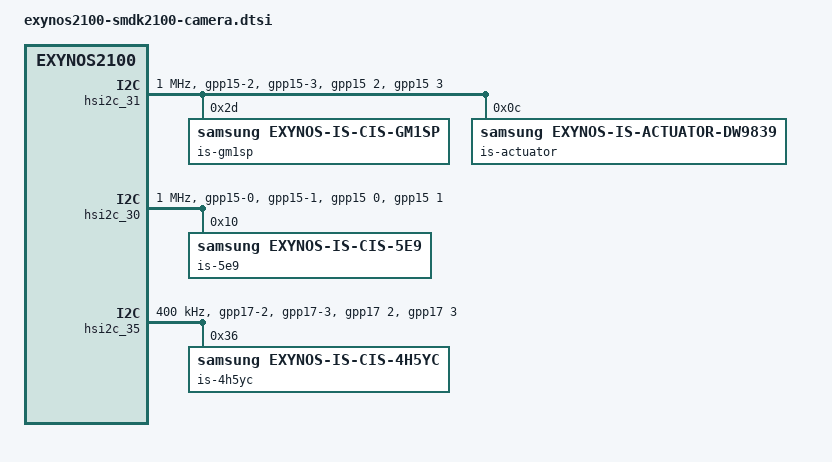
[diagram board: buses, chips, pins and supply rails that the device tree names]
/*
 * Samsung Exynos SoC series Pablo driver
 *
 * Copyright (c) 2020 Samsung Electronics Co., Ltd
 *
 * This program is free software; you can redistribute it and/or modify
 * it under the terms of the GNU General Public License version 2 as
 * published by the Free Software Foundation.
 */

#include <dt-bindings/camera/exynos_is_dt.h>

#include "camera/module_gm1sp.dtsi"
#include "camera/module_5e9.dtsi"
#include "camera/module_4h5yc.dtsi"

/ {
	fragment@camera {
		target-path = "/";
		__overlay__ {
			#address-cells = <2>;
			#size-cells = <1>;
			interrupt-parent = <&gic>;

			/* REAR CAMERA */
			is_sensor_gm1sp: is_sensor_gm1sp@43 {
				pinctrl-names = "pin0", "pin1", "pin2", "release";
				pinctrl-0 = <>;
				pinctrl-1 = <&sensor_mclk0_out>;
				pinctrl-2 = <&sensor_mclk0_fn>;
				pinctrl-3 = <>;

				position = <0>; /* Rear:0. Front:1 */
				id = <0>; /* sensor node id */
				mclk_ch = <0>;
				sensor_i2c_ch = <0>; /* I2C 0 */

				status = "okay";

				af {
					product_name = <23>; /* ACTUATOR_NAME_DW9839 */
					i2c_ch = <0>; /* SENSOR_CONTROL_I2C0 */
				};

				power_seq {
					gpio_mclk = <&gpg1 0 0x1>;

					scenario_normal_on {
						/* A start node number should be over the 10 for reserved number 0~9. */
						/* pname = "name"; pin = <act value dealy voltage>; gpio = <gpx# # 0x1>; */
						10 { pname = "MCLK"; pin = <PIN_MCLK 1 0>; };
						20 { pname = "sen_rst low"; pin = <PIN_OUTPUT 0 0>; gpio = <&gpp18 3 0x1>; };
						30 { pname = "S2MPB02_LDO14"; pin = <PIN_REGULATOR 1 0>; };
						40 { pname = "S2MPB02_LDO13"; pin = <PIN_REGULATOR 1 0>; };
						50 { pname = "S2MPB02_LDO7"; pin = <PIN_REGULATOR 1 0>; };
						60 { pname = "S2MPB02_LDO10"; pin = <PIN_REGULATOR 1 0>; };
						61 { pname = "S2MPB02_LDO16"; pin = <PIN_REGULATOR 1 0>; };
						70 { pname = "S2MPB02_BUCK2"; pin = <PIN_REGULATOR 1 0>; };
						80 { pname = "on_i2c"; pin = <PIN_I2C 1 0>; };
						90 { pname = "pin"; pin = <PIN_FUNCTION 2 0>; };
						100 { pname = "sen_rst high"; pin = <PIN_OUTPUT 1 2000>; gpio = <&gpp18 3 0x1>; };
					};

					scenario_normal_off {
						/* A start node number should be over the 10 for reserved number 0~9. */
						/* pname = "name"; pin = <act value dealy voltage>; gpio = <gpx# # 0x1>; */
						10 { pname = "sen_rst"; pin = <PIN_RESET 0 10>; gpio = <&gpp18 3 0x1>; };
						20 { pname = "sen_rst input"; pin = <PIN_INPUT 0 0>; gpio = <&gpp18 3 0x1>; };
						30 { pname = "S2MPB02_LDO14"; pin = <PIN_REGULATOR 0 0>; };
						40 { pname = "S2MPB02_LDO13"; pin = <PIN_REGULATOR 0 0>; };
						50 { pname = "S2MPB02_LDO7"; pin = <PIN_REGULATOR 0 0>; };
						60 { pname = "S2MPB02_LDO10"; pin = <PIN_REGULATOR 0 0>; };
						61 { pname = "S2MPB02_LDO16"; pin = <PIN_REGULATOR 0 0>; };
						70 { pname = "S2MPB02_BUCK2"; pin = <PIN_REGULATOR 0 0>; };
						80 { pname = "off_i2c"; pin = <PIN_I2C 0 0>; };
						90 { pname = "pin"; pin = <PIN_FUNCTION 0 0>; };
						100 { pname = "pin"; pin = <PIN_FUNCTION 1 0>; };
						110 { pname = "pin"; pin = <PIN_FUNCTION 0 0>; };
						120 { pname = "MCLK"; pin = <PIN_MCLK 0 0>; };
					};

					scenario_vision_on {
						sensor_scenario = <SENSOR_SCENARIO_VISION>;
						gpio_scenario = <GPIO_SCENARIO_ON>;

						/* A start node number should be over the 10 for reserved number 0~9. */
						/* pname = "name"; pin = <act value dealy voltage>; gpio = <gpx# # 0x1>; */
						10 { pname = "MCLK"; pin = <PIN_MCLK 1 0>; };
						20 { pname = "sen_rst low"; pin = <PIN_OUTPUT 0 0>; gpio = <&gpp18 3 0x1>; };
						30 { pname = "S2MPB02_LDO14"; pin = <PIN_REGULATOR 1 0>; };
						40 { pname = "S2MPB02_LDO13"; pin = <PIN_REGULATOR 1 0>; };
						50 { pname = "S2MPB02_LDO7"; pin = <PIN_REGULATOR 1 0>; };
						60 { pname = "S2MPB02_LDO10"; pin = <PIN_REGULATOR 1 0>; };
						61 { pname = "S2MPB02_LDO16"; pin = <PIN_REGULATOR 1 0>; };
						70 { pname = "S2MPB02_BUCK2"; pin = <PIN_REGULATOR 1 0>; };
						80 { pname = "on_i2c"; pin = <PIN_I2C 1 0>; };
						90 { pname = "pin"; pin = <PIN_FUNCTION 2 0>; };
						100 { pname = "sen_rst high"; pin = <PIN_OUTPUT 1 2000>; gpio = <&gpp18 3 0x1>; };
					};

					scenario_vision_off {
						sensor_scenario = <SENSOR_SCENARIO_VISION>;
						gpio_scenario = <GPIO_SCENARIO_OFF>;

						/* A start node number should be over the 10 for reserved number 0~9. */
						/* pname = "name"; pin = <act value dealy voltage>; gpio = <gpx# # 0x1>; */
						10 { pname = "sen_rst"; pin = <PIN_RESET 0 10>; gpio = <&gpp18 3 0x1>; };
						20 { pname = "sen_rst input"; pin = <PIN_INPUT 0 0>; gpio = <&gpp18 3 0x1>; };
						30 { pname = "S2MPB02_LDO14"; pin = <PIN_REGULATOR 0 0>; };
						40 { pname = "S2MPB02_LDO13"; pin = <PIN_REGULATOR 0 0>; };
						50 { pname = "S2MPB02_LDO7"; pin = <PIN_REGULATOR 0 0>; };
						60 { pname = "S2MPB02_LDO10"; pin = <PIN_REGULATOR 0 0>; };
						61 { pname = "S2MPB02_LDO16"; pin = <PIN_REGULATOR 0 0>; };
						70 { pname = "S2MPB02_BUCK2"; pin = <PIN_REGULATOR 0 0>; };
						80 { pname = "off_i2c"; pin = <PIN_I2C 0 0>; };
						90 { pname = "pin"; pin = <PIN_FUNCTION 0 0>; };
						100 { pname = "pin"; pin = <PIN_FUNCTION 1 0>; };
						110 { pname = "pin"; pin = <PIN_FUNCTION 0 0>; };
						120 { pname = "MCLK"; pin = <PIN_MCLK 0 0>; };
					};

				};
			};

			/* FRONT CAMERA */
			is_sensor_4h5yc: is_sensor_4h5yc@24 {
				pinctrl-names = "pin0", "pin1", "pin2", "release";
				pinctrl-0 = <>;
				pinctrl-1 = <&sensor_mclk4_out>;
				pinctrl-2 = <&sensor_mclk4_fn>;
				pinctrl-3 = <>;

				position = <1>; /* Rear:0. Front:1 */
				id = <1>; /* sensor node id */
				mclk_ch = <4>;
				sensor_i2c_ch = <1>;
				sensor_i2c_addr = <0x36>;

				status = "okay";

				power_seq {
					gpio_mclk = <&gpg2 1 0x1>;

					scenario_normal_on {
						/* A start node number should be over the 10 for reserved number 0~9. */
						/* pname = "name"; pin = <act value dealy voltage>; gpio = <gpx# # 0x1>; */
						10 { pname = "sen_rst low"; pin = <PIN_OUTPUT 0 0>; gpio = <&gpp9 0 0x1>; };
						20 { pname = "vdd_ldo18s"; pin = <PIN_REGULATOR 1 0>; };
						30 { pname = "vdd_ldo25"; pin = <PIN_REGULATOR 1 0>; };
						40 { pname = "S2MPB02_LDO4"; pin = <PIN_REGULATOR 1 0>; };
						50 { pname = "on_i2c"; pin = <PIN_I2C 1 0>; };
						60 { pname = "pin"; pin = <PIN_FUNCTION 2 0>; };
						70 { pname = "MCLK"; pin = <PIN_MCLK 1 0>; };
						80 { pname = "sen_rst high"; pin = <PIN_OUTPUT 1 0>; gpio = <&gpp9 0 0x1>; };
					};

					scenario_normal_off {
						/* A start node number should be over the 10 for reserved number 0~9. */
						/* pname = "name"; pin = <act value dealy voltage>; gpio = <gpx# # 0x1>; */
						10 { pname = "vdd_ldo18s"; pin = <PIN_REGULATOR 0 0>; };
						20 { pname = "vdd_ldo25"; pin = <PIN_REGULATOR 0 0>; };
						30 { pname = "MCLK"; pin = <PIN_MCLK 0 0>; };
						40 { pname = "pin"; pin = <PIN_FUNCTION 0 0>; };
						50 { pname = "sen_rst"; pin = <PIN_OUTPUT 0 0>; gpio = <&gpp9 0 0x1>; };
						60 { pname = "off_i2c"; pin = <PIN_I2C 0 0>; };
						70 { pname = "S2MPB02_LDO4"; pin = <PIN_REGULATOR 0 0>; };
					};

					scenario_vision_on {
						sensor_scenario = <SENSOR_SCENARIO_VISION>;
						gpio_scenario = <GPIO_SCENARIO_ON>;
						/* A start node number should be over the 10 for reserved number 0~9. */
						/* pname = "name"; pin = <act value dealy voltage>; gpio = <gpx# # 0x1>; */
						10 { pname = "sen_rst low"; pin = <PIN_OUTPUT 0 0>; gpio = <&gpp9 0 0x1>; };
						20 { pname = "vdd_ldo18s"; pin = <PIN_REGULATOR 1 0>; };
						30 { pname = "vdd_ldo25"; pin = <PIN_REGULATOR 1 0>; };
						40 { pname = "S2MPB02_LDO4"; pin = <PIN_REGULATOR 1 0>; };
						50 { pname = "on_i2c"; pin = <PIN_I2C 1 0>; };
						60 { pname = "pin"; pin = <PIN_FUNCTION 2 0>; };
						70 { pname = "MCLK"; pin = <PIN_MCLK 1 0>; };
						80 { pname = "sen_rst high"; pin = <PIN_OUTPUT 1 0>; gpio = <&gpp9 0 0x1>; };
					};

					scenario_vision_off {
						sensor_scenario = <SENSOR_SCENARIO_VISION>;
						gpio_scenario = <GPIO_SCENARIO_OFF>;
						/* A start node number should be over the 10 for reserved number 0~9. */
						/* pname = "name"; pin = <act value dealy voltage>; gpio = <gpx# # 0x1>; */
						10 { pname = "vdd_ldo18s"; pin = <PIN_REGULATOR 0 0>; };
						20 { pname = "vdd_ldo25"; pin = <PIN_REGULATOR 0 0>; };
						30 { pname = "MCLK"; pin = <PIN_MCLK 0 0>; };
						40 { pname = "pin"; pin = <PIN_FUNCTION 0 0>; };
						50 { pname = "sen_rst"; pin = <PIN_OUTPUT 0 0>; gpio = <&gpp9 0 0x1>; };
						60 { pname = "off_i2c"; pin = <PIN_I2C 0 0>; };
						70 { pname = "S2MPB02_LDO4"; pin = <PIN_REGULATOR 0 0>; };
					};

				};

			};

			/* Rear Sub CAMERA */
			is_sensor_5e9: is_sensor_5e9@41 {
				pinctrl-names = "pin0", "pin1", "pin2", "release";
				pinctrl-0 = <>;
				pinctrl-1 = <&sensor_mclk1_out>;
				pinctrl-2 = <&sensor_mclk1_fn>;
				pinctrl-3 = <>;

				/* board */
				position = <2>; /* Rear:0. Front:1, Tele:2 */
				id = <2>; /* fimc_is_sensor id */
				mclk_ch = <1>;
				sensor_i2c_ch = <2>; /* SENSOR_CONTROL_I2C2 */

				af {
					product_name = <100>; /* NOTHING */
				};

				flash {
					product_name = <100>; /* NOTHING */
				};

				preprocessor {
					product_name = <100>; /* NOTHING */
				};

				ois {
					product_name = <100>; /* NOTHING */
				};

				power_seq {
					use = <1>;
					gpio_mclk = <&gpg1 1 0x1>;

					scenario_normal_on {
						sensor_scenario = <SENSOR_SCENARIO_NORMAL>;
						gpio_scenario = <GPIO_SCENARIO_ON>;

						/* A start node number should be over the 10 for reserved number 0~9. */
						/* pname = "name"; pin = <act value dealy voltage>; gpio = <gpx# # 0x1>; */
						10 { pname = "MCLK"; pin = <PIN_MCLK 1 0>; };
						20 { pname = "sen_rst low"; pin = <PIN_OUTPUT 0 0>; gpio = <&gpp8 0 0x1>; };
						30 { pname = "vdd_ldo21s"; pin = <PIN_REGULATOR 1 0>; };
						40 { pname = "vdd_ldo29"; pin = <PIN_REGULATOR 1 0>; };
						50 { pname = "S2MPB02_LDO3"; pin = <PIN_REGULATOR 1 0>; };
						60 { pname = "pin"; pin = <PIN_FUNCTION 2 1000>; };
						70 { pname = "sen_rst high"; pin = <PIN_OUTPUT 1 1000>; gpio = <&gpp8 0 0x1>; };
						80 { pname = "on_i2c"; pin = <PIN_I2C 1 0>; };
					};

					scenario_normal_off {
						sensor_scenario = <SENSOR_SCENARIO_NORMAL>;
						gpio_scenario = <GPIO_SCENARIO_OFF>;

						/* A start node number should be over the 10 for reserved number 0~9. */
						/* pname = "name"; pin = <act value dealy voltage>; gpio = <gpx# # 0x1>; */
						10 { pname = "pin"; pin = <PIN_FUNCTION 0 0>; };
						20 { pname = "pin"; pin = <PIN_FUNCTION 1 0>; };
						30 { pname = "pin"; pin = <PIN_FUNCTION 0 0>; };
						40 { pname = "vdd_ldo21s"; pin = <PIN_REGULATOR 0 0>; };
						50 { pname = "S2MPB02_LDO3"; pin = <PIN_REGULATOR 0 0>; };
						60 { pname = "vdd_ldo29"; pin = <PIN_REGULATOR 0 0>; };
						70 { pname = "sen_rst"; pin = <PIN_OUTPUT 0 0>; gpio = <&gpp8 0 0x1>; };
						80 { pname = "MCLK"; pin = <PIN_MCLK 0 0>; };
						90 { pname = "off_i2c"; pin = <PIN_I2C 0 0>; };
					};

					scenario_vision_on {
						sensor_scenario = <SENSOR_SCENARIO_VISION>;
						gpio_scenario = <GPIO_SCENARIO_ON>;

						/* A start node number should be over the 10 for reserved number 0~9. */
						/* pname = "name"; pin = <act value dealy voltage>; gpio = <gpx# # 0x1>; */
						10 { pname = "MCLK"; pin = <PIN_MCLK 1 0>; };
						20 { pname = "sen_rst low"; pin = <PIN_OUTPUT 0 0>; gpio = <&gpp8 0 0x1>; };
						30 { pname = "vdd_ldo21s"; pin = <PIN_REGULATOR 1 0>; };
						40 { pname = "vdd_ldo29"; pin = <PIN_REGULATOR 1 0>; };
						50 { pname = "S2MPB02_LDO3"; pin = <PIN_REGULATOR 1 0>; };
						60 { pname = "pin"; pin = <PIN_FUNCTION 2 1000>; };
						70 { pname = "sen_rst high"; pin = <PIN_OUTPUT 1 1000>; gpio = <&gpp8 0 0x1>; };
						80 { pname = "on_i2c"; pin = <PIN_I2C 1 0>; };
					};

					scenario_vision_off {
						sensor_scenario = <SENSOR_SCENARIO_VISION>;
						gpio_scenario = <GPIO_SCENARIO_OFF>;

						/* A start node number should be over the 10 for reserved number 0~9. */
						/* pname = "name"; pin = <act value dealy voltage>; gpio = <gpx# # 0x1>; */
						10 { pname = "pin"; pin = <PIN_FUNCTION 0 0>; };
						20 { pname = "pin"; pin = <PIN_FUNCTION 1 0>; };
						30 { pname = "pin"; pin = <PIN_FUNCTION 0 0>; };
						40 { pname = "vdd_ldo21s"; pin = <PIN_REGULATOR 0 0>; };
						50 { pname = "S2MPB02_LDO3"; pin = <PIN_REGULATOR 0 0>; };
						60 { pname = "vdd_ldo29"; pin = <PIN_REGULATOR 0 0>; };
						70 { pname = "sen_rst"; pin = <PIN_OUTPUT 0 0>; gpio = <&gpp8 0 0x1>; };
						80 { pname = "MCLK"; pin = <PIN_MCLK 0 0>; };
						90 { pname = "off_i2c"; pin = <PIN_I2C 0 0>; };
					};
				};
			};

			is_sensor0: is_sensor0@17030000 {
				#address-cells = <1>;
				#size-cells = <1>;
				scenario = <SENSOR_SCENARIO_NORMAL>;	/* Normal, Vision, OIS etc */
				id = <0>;
				csi_ch = <0>;
				dma_ch = <0 0 0 0>;
				vc_ch = <0 1 2 3>;
				flite_ch = <FLITE_ID_NOTHING>;
				is_bns = <0>;
				status = "okay";
			};

			is_sensor1: is_sensor1@17040000 {
				#address-cells = <1>;
				#size-cells = <1>;
				reg = <0x0 0x17070000 0x1000>, /* MIPI-CSI2 */
					<0x0 0x170A0000 0x10000>; /* PHY: M0S4S4S4S4S4S2 */
				phys = <&mipi_phy_csis4_m0s4s4s4s4s4s2 0>;
				scenario = <SENSOR_SCENARIO_NORMAL>;    /* Normal, Vision, OIS etc */
				id = <1>;
				csi_ch = <4>;
				dma_ch = <1 1 1 1>;
				vc_ch = <0 1 2 3>;
				flite_ch = <FLITE_ID_NOTHING>;
				is_bns = <0>;
				status = "okay";

				interrupts = <0 INTREQ__CSIS4 IRQ_TYPE_LEVEL_HIGH>, /* MIPI-CSI2 */
					<0 INTREQ__CSIS_DMA1 IRQ_TYPE_LEVEL_HIGH>,
					<0 INTREQ__CSIS_DMA1 IRQ_TYPE_LEVEL_HIGH>,
					<0 INTREQ__CSIS_DMA1 IRQ_TYPE_LEVEL_HIGH>,
					<0 INTREQ__CSIS_DMA1 IRQ_TYPE_LEVEL_HIGH>;
			};

			is_sensor2: is_sensor2@17050000 {
				#address-cells = <1>;
				#size-cells = <1>;
				reg = <0x0 0x17040000 0x1000>, /* MIPI-CSI1 */
					<0x0 0x170A0000 0x10000>; /* PHY: M0S4S4S4S4S4S2 */
				phys = <&mipi_phy_csis1_m0s4s4s4s4s4s2 0>;
				scenario = <SENSOR_SCENARIO_NORMAL>;    /* Normal, Vision, OIS etc */
				id = <2>;
				csi_ch = <1>;
				dma_ch = <2 2 2 2>;
				vc_ch = <0 1 2 3>;
				flite_ch = <FLITE_ID_NOTHING>;
				is_bns = <0>;
				status = "okay";

				interrupts = <0 INTREQ__CSIS1 IRQ_TYPE_LEVEL_HIGH>, /* MIPI-CSI1 */
					<0 INTREQ__CSIS_DMA2 IRQ_TYPE_LEVEL_HIGH>,
					<0 INTREQ__CSIS_DMA2 IRQ_TYPE_LEVEL_HIGH>,
					<0 INTREQ__CSIS_DMA2 IRQ_TYPE_LEVEL_HIGH>,
					<0 INTREQ__CSIS_DMA2 IRQ_TYPE_LEVEL_HIGH>;
			};

			is_sensor3: is_sensor3@17060000 {
				#address-cells = <1>;
				#size-cells = <1>;
				scenario = <SENSOR_SCENARIO_NORMAL>;    /* Normal, Vision, OIS etc */
				id = <3>;
				csi_ch = <4>;
				dma_ch = <3 3 3 3>;
				vc_ch = <0 1 2 3>;
				flite_ch = <FLITE_ID_NOTHING>;
				is_bns = <0>;
				status = "disabled";
			};

			is_sensor4: is_sensor4@17070000 {
				#address-cells = <1>;
				#size-cells = <1>;
				scenario = <SENSOR_SCENARIO_NORMAL>;    /* Normal, Vision, OIS etc */
				id = <4>;
				csi_ch = <1>;
				dma_ch = <1 1 1 1>;
				vc_ch = <0 1 2 3>;
				flite_ch = <FLITE_ID_NOTHING>;
				is_bns = <0>;
				status = "disabled";
			};

			is_sensor5: is_sensor5@17080000 {
				#address-cells = <1>;
				#size-cells = <1>;
				scenario = <SENSOR_SCENARIO_NORMAL>;    /* Normal, Vision, OIS etc */
				id = <1>;
				csi_ch = <1>;
				dma_ch = <1 1 1 1>;
				vc_ch = <0 1 2 3>;
				flite_ch = <FLITE_ID_NOTHING>;
				is_bns = <0>;
				status = "disabled";
			};
		}; /* end of __overlay__ */
	}; /* end of fragment */
}; /* end of root */

/***** reference symbol node *****/

&exynos_is {
	vender {
		rear_sensor_id = <43>; /* GM1SP */
		front_sensor_id = <24>; /* 4H5YC */
		rear2_sensor_id = <41>; /* 5E9 */
	};

	lic_offsets {
		/* 3AA = <setA lic offset0, setA lic offset1, lic offset2 set A trigger context */
		/* 	setB lic offset0, setB lic offset1, setB lic offset2, set B trigger context> */
		3AA = <5461 10922 16383 0 5461 10922 16383 0>;
	};

	is_dvfs {
		#define DVFS_INT_CAM_L0 690000
		#define DVFS_INT_CAM_L1 680000
		#define DVFS_INT_CAM_L2 670000
		#define DVFS_INT_CAM_L3 660000
		#define DVFS_INT_CAM_L4 650000
		#define DVFS_INT_CAM_L5 640000
		#define DVFS_INT_CAM_L6 630000

		#define DVFS_INT_L0 800000
		#define DVFS_INT_L1 533000
		#define DVFS_INT_L2 400000
		#define DVFS_INT_L3 267000
		#define DVFS_INT_L4 80000

		#define DVFS_CSIS_L0 690000
		#define DVFS_CSIS_L1 680000
		#define DVFS_CSIS_L2 670000
		#define DVFS_CSIS_L3 660000
		#define DVFS_CSIS_L4 650000
		#define DVFS_CSIS_L5 640000
		#define DVFS_CSIS_L6 630000

		#define DVFS_CAM_L0 690000
		#define DVFS_CAM_L1 680000
		#define DVFS_CAM_L2 670000
		#define DVFS_CAM_L3 660000
		#define DVFS_CAM_L4 650000
		#define DVFS_CAM_L5 640000
		#define DVFS_CAM_L6 630000

		#define DVFS_ISP_L0 690000
		#define DVFS_ISP_L1 680000
		#define DVFS_ISP_L2 670000
		#define DVFS_ISP_L3 660000
		#define DVFS_ISP_L4 650000
		#define DVFS_ISP_L5 640000
		#define DVFS_ISP_L6 630000

		#define DVFS_MIF_L0 3172000
		#define DVFS_MIF_L1 2730000
		#define DVFS_MIF_L2 2535000
		#define DVFS_MIF_L3 2288000
		#define DVFS_MIF_L4 2028000
		#define DVFS_MIF_L5 1716000
		#define DVFS_MIF_L6 1539000
		#define DVFS_MIF_L7 1352000
		#define DVFS_MIF_L8 1014000
		#define DVFS_MIF_L9 845000
		#define DVFS_MIF_L10 546000
		#define DVFS_MIF_L11 421000

		table0 {
			desc = "dvfs table v0.2";

			default_int_cam = <DVFS_INT_CAM_L0>;
			default_cam = <DVFS_CAM_L0>;
			default_csis = <DVFS_CSIS_L0>;
			default_isp = <DVFS_ISP_L0>;
			default_mif = <DVFS_MIF_L0>;
			default_int = <DVFS_INT_L0>;
			default_hpg = <1>;

			rear_single_wide_photo_int_cam = <DVFS_INT_CAM_L5>;
			rear_single_wide_photo_cam = <DVFS_CAM_L3>;	/* VOTF */
			rear_single_wide_photo_csis = <DVFS_CSIS_L3>;	/* VOTF */
			rear_single_wide_photo_isp = <DVFS_ISP_L3>;
			rear_single_wide_photo_mif = <DVFS_MIF_L6>;
			rear_single_wide_photo_int = <DVFS_INT_L3>;
			rear_single_wide_photo_hpg = <1>;

			rear_single_wide_photo_full_int_cam = <DVFS_INT_CAM_L5>;
			rear_single_wide_photo_full_cam = <DVFS_CAM_L3>;	/* VOTF */
			rear_single_wide_photo_full_csis = <DVFS_CSIS_L3>;	/* VOTF */
			rear_single_wide_photo_full_isp = <DVFS_ISP_L3>;
			rear_single_wide_photo_full_mif = <DVFS_MIF_L3>;
			rear_single_wide_photo_full_int = <DVFS_INT_L1>;
			rear_single_wide_photo_full_hpg = <1>;

			rear_single_wide_capture_int_cam = <DVFS_INT_CAM_L3>;
			rear_single_wide_capture_cam = <DVFS_CAM_L3>;	/* VOTF */
			rear_single_wide_capture_csis = <DVFS_CSIS_L3>;	/* VOTF */
			rear_single_wide_capture_isp = <DVFS_ISP_L3>;
			rear_single_wide_capture_mif = <DVFS_MIF_L1>;
			rear_single_wide_capture_int = <DVFS_INT_L0>;
			rear_single_wide_capture_hpg = <1>;

			rear_single_wide_video_fhd30_int_cam = <DVFS_INT_CAM_L6>;
			rear_single_wide_video_fhd30_cam = <DVFS_CAM_L3>;	/* VOTF */
			rear_single_wide_video_fhd30_csis = <DVFS_CSIS_L3>;	/* VOTF */
			rear_single_wide_video_fhd30_isp = <DVFS_ISP_L6>;
			rear_single_wide_video_fhd30_mif = <DVFS_MIF_L8>;
			rear_single_wide_video_fhd30_int = <DVFS_INT_L3>;
			rear_single_wide_video_fhd30_hpg = <1>;

			rear_single_wide_videohdr_int_cam = <DVFS_INT_CAM_L5>;
			rear_single_wide_videohdr_cam = <DVFS_CAM_L5>;	/* VOTF */
			rear_single_wide_videohdr_csis = <DVFS_CSIS_L4>;	/* VOTF */
			rear_single_wide_videohdr_isp = <DVFS_ISP_L5>;
			rear_single_wide_videohdr_mif = <DVFS_MIF_L6>;
			rear_single_wide_videohdr_int = <DVFS_INT_L3>;
			rear_single_wide_videohdr_hpg = <1>;

			rear_single_wide_video_fhd60_int_cam = <DVFS_INT_CAM_L5>;
			rear_single_wide_video_fhd60_cam = <DVFS_CAM_L5>;		/* VOTF */
			rear_single_wide_video_fhd60_csis = <DVFS_CSIS_L4>;	/* VOTF */
			rear_single_wide_video_fhd60_isp = <DVFS_ISP_L5>;
			rear_single_wide_video_fhd60_mif = <DVFS_MIF_L6>;
			rear_single_wide_video_fhd60_int = <DVFS_INT_L3>;
			rear_single_wide_video_fhd60_hpg = <1>;

			rear_single_wide_video_uhd30_int_cam = <DVFS_INT_CAM_L6>;
			rear_single_wide_video_uhd30_cam = <DVFS_CAM_L3>;	/* VOTF */
			rear_single_wide_video_uhd30_csis = <DVFS_CSIS_L3>;	/* VOTF */
			rear_single_wide_video_uhd30_isp = <DVFS_ISP_L6>;
			rear_single_wide_video_uhd30_mif = <DVFS_MIF_L6>;
			rear_single_wide_video_uhd30_int = <DVFS_INT_L3>;
			rear_single_wide_video_uhd30_hpg = <1>;

			rear_single_wide_video_uhd60_int_cam = <DVFS_INT_CAM_L5>;
			rear_single_wide_video_uhd60_cam = <DVFS_CAM_L5>;	/* VOTF */
			rear_single_wide_video_uhd60_csis = <DVFS_CSIS_L4>;	/* VOTF */
			rear_single_wide_video_uhd60_isp = <DVFS_ISP_L5>;
			rear_single_wide_video_uhd60_mif = <DVFS_MIF_L4>;
			rear_single_wide_video_uhd60_int = <DVFS_INT_L1>;
			rear_single_wide_video_uhd60_hpg = <1>;

			rear_single_wide_video_fhd120_int_cam = <DVFS_INT_CAM_L0>;
			rear_single_wide_video_fhd120_cam = <DVFS_CAM_L6>;	/* VOTF */
			rear_single_wide_video_fhd120_csis = <DVFS_CSIS_L4>;	/* VOTF */
			rear_single_wide_video_fhd120_isp = <DVFS_ISP_L6>;
			rear_single_wide_video_fhd120_mif = <DVFS_MIF_L0>;
			rear_single_wide_video_fhd120_int = <DVFS_INT_L0>;
			rear_single_wide_video_fhd120_hpg = <1>;

			rear_single_wide_video_fhd240_int_cam = <DVFS_INT_CAM_L0>;
			rear_single_wide_video_fhd240_cam = <DVFS_CAM_L5>;	/* VOTF */
			rear_single_wide_video_fhd240_csis = <DVFS_CSIS_L4>;	/* VOTF */
			rear_single_wide_video_fhd240_isp = <DVFS_ISP_L5>;
			rear_single_wide_video_fhd240_mif = <DVFS_MIF_L0>;
			rear_single_wide_video_fhd240_int = <DVFS_INT_L0>;
			rear_single_wide_video_fhd240_hpg = <1>;

			rear_single_wide_video_fhd480_int_cam = <DVFS_INT_CAM_L3>;
			rear_single_wide_video_fhd480_cam = <DVFS_CAM_L3>;	/* VOTF */
			rear_single_wide_video_fhd480_csis = <DVFS_CSIS_L4>;	/* VOTF */
			rear_single_wide_video_fhd480_isp = <DVFS_ISP_L3>;
			rear_single_wide_video_fhd480_mif = <DVFS_MIF_L4>;
			rear_single_wide_video_fhd480_int = <DVFS_INT_L1>;
			rear_single_wide_video_fhd480_hpg = <1>;

			rear_single_wide_dualfps_int_cam = <DVFS_INT_CAM_L3>;
			rear_single_wide_dualfps_cam = <DVFS_CAM_L3>;	/* VOTF */
			rear_single_wide_dualfps_csis = <DVFS_CSIS_L4>;	/* VOTF */
			rear_single_wide_dualfps_isp = <DVFS_ISP_L3>;
			rear_single_wide_dualfps_mif = <DVFS_MIF_L4>;
			rear_single_wide_dualfps_int = <DVFS_INT_L1>;
			rear_single_wide_dualfps_hpg = <6>;

			rear_single_wide_fastae_int_cam = <DVFS_INT_CAM_L4>;
			rear_single_wide_fastae_cam = <DVFS_CAM_L3>;		/* VOTF */
			rear_single_wide_fastae_csis = <DVFS_CSIS_L3>;	/* VOTF */
			rear_single_wide_fastae_isp = <DVFS_ISP_L3>;
			rear_single_wide_fastae_mif = <DVFS_MIF_L4>;
			rear_single_wide_fastae_int = <DVFS_INT_L3>;
			rear_single_wide_fastae_hpg = <1>;

			rear_single_tele_photo_int_cam = <DVFS_INT_CAM_L3>;
			rear_single_tele_photo_cam = <DVFS_CAM_L1>;	/* VOTF */
			rear_single_tele_photo_csis = <DVFS_CSIS_L1>;	/* VOTF */
			rear_single_tele_photo_isp = <DVFS_ISP_L3>;
			rear_single_tele_photo_mif = <DVFS_MIF_L6>;
			rear_single_tele_photo_int = <DVFS_INT_L3>;
			rear_single_tele_photo_hpg = <1>;

			rear_single_tele_photo_full_int_cam = <DVFS_INT_CAM_L5>;
			rear_single_tele_photo_full_cam = <DVFS_CAM_L1>;	/* VOTF */
			rear_single_tele_photo_full_csis = <DVFS_CSIS_L1>;	/* VOTF */
			rear_single_tele_photo_full_isp = <DVFS_ISP_L3>;
			rear_single_tele_photo_full_mif = <DVFS_MIF_L4>;
			rear_single_tele_photo_full_int = <DVFS_INT_L1>;
			rear_single_tele_photo_full_hpg = <1>;

			rear_single_tele_capture_int_cam = <DVFS_INT_CAM_L3>;
			rear_single_tele_capture_cam = <DVFS_CAM_L1>;	/* VOTF */
			rear_single_tele_capture_csis = <DVFS_CSIS_L1>;	/* VOTF */
			rear_single_tele_capture_isp = <DVFS_ISP_L3>;
			rear_single_tele_capture_mif = <DVFS_MIF_L1>;
			rear_single_tele_capture_int = <DVFS_INT_L0>;
			rear_single_tele_capture_hpg = <1>;

			rear_single_tele_video_fhd30_int_cam = <DVFS_INT_CAM_L5>;
			rear_single_tele_video_fhd30_cam = <DVFS_CAM_L1>;	/* VOTF */
			rear_single_tele_video_fhd30_csis = <DVFS_CSIS_L1>;	/* VOTF */
			rear_single_tele_video_fhd30_isp = <DVFS_ISP_L5>;
			rear_single_tele_video_fhd30_mif = <DVFS_MIF_L6>;
			rear_single_tele_video_fhd30_int = <DVFS_INT_L3>;
			rear_single_tele_video_fhd30_hpg = <1>;

			rear_single_tele_video_uhd30_int_cam = <DVFS_INT_CAM_L5>;
			rear_single_tele_video_uhd30_cam = <DVFS_CAM_L1>;	/* VOTF */
			rear_single_tele_video_uhd30_csis = <DVFS_CSIS_L1>;	/* VOTF */
			rear_single_tele_video_uhd30_isp = <DVFS_ISP_L5>;
			rear_single_tele_video_uhd30_mif = <DVFS_MIF_L6>;
			rear_single_tele_video_uhd30_int = <DVFS_INT_L3>;
			rear_single_tele_video_uhd30_hpg = <1>;

			rear_single_tele_video_8k30_int_cam = <DVFS_INT_CAM_L3>;
			rear_single_tele_video_8k30_cam = <DVFS_CAM_L1>;	/* OTF */
			rear_single_tele_video_8k30_csis = <DVFS_CSIS_L1>;	/* OTF */
			rear_single_tele_video_8k30_isp = <DVFS_ISP_L1>;
			rear_single_tele_video_8k30_mif = <DVFS_MIF_L1>;
			rear_single_tele_video_8k30_int = <DVFS_INT_L1>;
			rear_single_tele_video_8k30_hpg = <1>;

			rear_single_tele_remosaic_photo_int_cam = <DVFS_INT_CAM_L3>;
			rear_single_tele_remosaic_photo_cam = <DVFS_CAM_L1>;
			rear_single_tele_remosaic_photo_csis = <DVFS_CSIS_L1>;
			rear_single_tele_remosaic_photo_isp = <DVFS_ISP_L3>;
			rear_single_tele_remosaic_photo_mif = <DVFS_MIF_L6>;
			rear_single_tele_remosaic_photo_int = <DVFS_INT_L3>;
			rear_single_tele_remosaic_photo_hpg = <1>;

			rear_single_tele_remosaic_capture_int_cam = <DVFS_INT_CAM_L3>;
			rear_single_tele_remosaic_capture_cam = <DVFS_CAM_L1>;
			rear_single_tele_remosaic_capture_csis = <DVFS_CSIS_L1>;
			rear_single_tele_remosaic_capture_isp = <DVFS_ISP_L3>;
			rear_single_tele_remosaic_capture_mif = <DVFS_MIF_L1>;
			rear_single_tele_remosaic_capture_int = <DVFS_INT_L0>;
			rear_single_tele_remosaic_capture_hpg = <1>;

			rear_single_ultrawide_photo_int_cam = <DVFS_INT_CAM_L5>;
			rear_single_ultrawide_photo_cam = <DVFS_CAM_L3>;	/* OTF */
			rear_single_ultrawide_photo_csis = <DVFS_CSIS_L3>;	/* OTF */
			rear_single_ultrawide_photo_isp = <DVFS_ISP_L3>;
			rear_single_ultrawide_photo_mif = <DVFS_MIF_L6>;
			rear_single_ultrawide_photo_int = <DVFS_INT_L3>;
			rear_single_ultrawide_photo_hpg = <1>;

			rear_single_ultrawide_photo_full_int_cam = <DVFS_INT_CAM_L5>;
			rear_single_ultrawide_photo_full_cam = <DVFS_CAM_L3>;	/* OTF */
			rear_single_ultrawide_photo_full_csis = <DVFS_CSIS_L3>;	/* OTF */
			rear_single_ultrawide_photo_full_isp = <DVFS_ISP_L3>;
			rear_single_ultrawide_photo_full_mif = <DVFS_MIF_L4>;
			rear_single_ultrawide_photo_full_int = <DVFS_INT_L1>;
			rear_single_ultrawide_photo_full_hpg = <1>;

			rear_single_ultrawide_capture_int_cam = <DVFS_INT_CAM_L3>;
			rear_single_ultrawide_capture_cam = <DVFS_CAM_L3>;		/* OTF */
			rear_single_ultrawide_capture_csis = <DVFS_CSIS_L3>;		/* OTF */
			rear_single_ultrawide_capture_isp = <DVFS_ISP_L3>;
			rear_single_ultrawide_capture_mif = <DVFS_MIF_L1>;
			rear_single_ultrawide_capture_int = <DVFS_INT_L0>;
			rear_single_ultrawide_capture_hpg = <1>;

			rear_single_ultrawide_video_fhd30_int_cam = <DVFS_INT_CAM_L6>;
			rear_single_ultrawide_video_fhd30_cam = <DVFS_CAM_L3>;	/* OTF */
			rear_single_ultrawide_video_fhd30_csis = <DVFS_CSIS_L3>;	/* OTF */
			rear_single_ultrawide_video_fhd30_isp = <DVFS_ISP_L3>;
			rear_single_ultrawide_video_fhd30_mif = <DVFS_MIF_L6>;
			rear_single_ultrawide_video_fhd30_int = <DVFS_INT_L3>;
			rear_single_ultrawide_video_fhd30_hpg = <1>;

			rear_single_ultrawide_video_uhd30_int_cam = <DVFS_INT_CAM_L6>;
			rear_single_ultrawide_video_uhd30_cam = <DVFS_CAM_L3>;	/* OTF */
			rear_single_ultrawide_video_uhd30_csis = <DVFS_CSIS_L3>;	/* OTF */
			rear_single_ultrawide_video_uhd30_isp = <DVFS_ISP_L3>;
			rear_single_ultrawide_video_uhd30_mif = <DVFS_MIF_L6>;
			rear_single_ultrawide_video_uhd30_int = <DVFS_INT_L3>;
			rear_single_ultrawide_video_uhd30_hpg = <1>;

			rear_dual_wide_tele_photo_int_cam = <DVFS_INT_CAM_L3>;
			rear_dual_wide_tele_photo_cam = <DVFS_CAM_L1>;	/* VOTF */
			rear_dual_wide_tele_photo_csis = <DVFS_CSIS_L1>;	/* VOTF */
			rear_dual_wide_tele_photo_isp = <DVFS_ISP_L3>;
			rear_dual_wide_tele_photo_mif = <DVFS_MIF_L0>;
			rear_dual_wide_tele_photo_int = <DVFS_INT_L0>;
			rear_dual_wide_tele_photo_hpg = <1>;

			rear_dual_wide_tele_capture_int_cam = <DVFS_INT_CAM_L3>;
			rear_dual_wide_tele_capture_cam = <DVFS_CAM_L1>;	/* VOTF */
			rear_dual_wide_tele_capture_csis = <DVFS_CSIS_L1>;	/* VOTF */
			rear_dual_wide_tele_capture_isp = <DVFS_ISP_L3>;
			rear_dual_wide_tele_capture_mif = <DVFS_MIF_L0>;
			rear_dual_wide_tele_capture_int = <DVFS_INT_L0>;
			rear_dual_wide_tele_capture_hpg = <1>;

			rear_dual_wide_tele_video_fhd30_int_cam = <DVFS_INT_CAM_L5>;
			rear_dual_wide_tele_video_fhd30_cam = <DVFS_CAM_L1>;	/* VOTF */
			rear_dual_wide_tele_video_fhd30_csis = <DVFS_CSIS_L1>;	/* VOTF */
			rear_dual_wide_tele_video_fhd30_isp = <DVFS_ISP_L5>;
			rear_dual_wide_tele_video_fhd30_mif = <DVFS_MIF_L0>;
			rear_dual_wide_tele_video_fhd30_int = <DVFS_INT_L0>;
			rear_dual_wide_tele_video_fhd30_hpg = <1>;

			rear_dual_wide_tele_video_uhd30_int_cam = <DVFS_INT_CAM_L5>;
			rear_dual_wide_tele_video_uhd30_cam = <DVFS_CAM_L1>;	/* VOTF */
			rear_dual_wide_tele_video_uhd30_csis = <DVFS_CSIS_L1>;	/* VOTF */
			rear_dual_wide_tele_video_uhd30_isp = <DVFS_ISP_L5>;
			rear_dual_wide_tele_video_uhd30_mif = <DVFS_MIF_L0>;
			rear_dual_wide_tele_video_uhd30_int = <DVFS_INT_L0>;
			rear_dual_wide_tele_video_uhd30_hpg = <1>;

			rear_dual_wide_ultrawide_photo_int_cam = <DVFS_INT_CAM_L3>;
			rear_dual_wide_ultrawide_photo_cam = <DVFS_CAM_L3>;	/* VOTF */
			rear_dual_wide_ultrawide_photo_csis = <DVFS_CSIS_L3>;	/* VOTF */
			rear_dual_wide_ultrawide_photo_isp = <DVFS_ISP_L3>;
			rear_dual_wide_ultrawide_photo_mif = <DVFS_MIF_L0>;
			rear_dual_wide_ultrawide_photo_int = <DVFS_INT_L0>;
			rear_dual_wide_ultrawide_photo_hpg = <1>;

			rear_dual_wide_ultrawide_capture_int_cam = <DVFS_INT_CAM_L3>;
			rear_dual_wide_ultrawide_capture_cam = <DVFS_CAM_L3>;	/* VOTF */
			rear_dual_wide_ultrawide_capture_csis = <DVFS_CSIS_L3>;	/* VOTF */
			rear_dual_wide_ultrawide_capture_isp = <DVFS_ISP_L3>;
			rear_dual_wide_ultrawide_capture_mif = <DVFS_MIF_L0>;
			rear_dual_wide_ultrawide_capture_int = <DVFS_INT_L0>;
			rear_dual_wide_ultrawide_capture_hpg = <1>;

			rear_dual_wide_ultrawide_video_fhd30_int_cam = <DVFS_INT_CAM_L5>;
			rear_dual_wide_ultrawide_video_fhd30_cam = <DVFS_CAM_L3>;	/* VOTF */
			rear_dual_wide_ultrawide_video_fhd30_csis = <DVFS_CSIS_L3>;	/* VOTF */
			rear_dual_wide_ultrawide_video_fhd30_isp = <DVFS_ISP_L5>;
			rear_dual_wide_ultrawide_video_fhd30_mif = <DVFS_MIF_L0>;
			rear_dual_wide_ultrawide_video_fhd30_int = <DVFS_INT_L0>;
			rear_dual_wide_ultrawide_video_fhd30_hpg = <1>;

			rear_dual_wide_ultrawide_video_uhd30_int_cam = <DVFS_INT_CAM_L5>;
			rear_dual_wide_ultrawide_video_uhd30_cam = <DVFS_CAM_L3>;	/* VOTF */
			rear_dual_wide_ultrawide_video_uhd30_csis = <DVFS_CSIS_L3>;	/* VOTF */
			rear_dual_wide_ultrawide_video_uhd30_isp = <DVFS_ISP_L5>;
			rear_dual_wide_ultrawide_video_uhd30_mif = <DVFS_MIF_L0>;
			rear_dual_wide_ultrawide_video_uhd30_int = <DVFS_INT_L0>;
			rear_dual_wide_ultrawide_video_uhd30_hpg = <1>;

			front_single_front_photo_int_cam = <DVFS_INT_CAM_L5>;
			front_single_front_photo_cam = <DVFS_CAM_L3>;
			front_single_front_photo_csis = <DVFS_CSIS_L3>;
			front_single_front_photo_isp = <DVFS_ISP_L3>;
			front_single_front_photo_mif = <DVFS_MIF_L6>;
			front_single_front_photo_int = <DVFS_INT_L3>;
			front_single_front_photo_hpg = <1>;

			front_single_front_photo_full_int_cam = <DVFS_INT_CAM_L5>;
			front_single_front_photo_full_cam = <DVFS_CAM_L3>;
			front_single_front_photo_full_csis = <DVFS_CSIS_L3>;
			front_single_front_photo_full_isp = <DVFS_ISP_L3>;
			front_single_front_photo_full_mif = <DVFS_MIF_L4>;
			front_single_front_photo_full_int = <DVFS_INT_L1>;
			front_single_front_photo_full_hpg = <1>;

			front_single_front_capture_int_cam = <DVFS_INT_CAM_L3>;
			front_single_front_capture_cam = <DVFS_CAM_L3>;
			front_single_front_capture_csis = <DVFS_CSIS_L3>;
			front_single_front_capture_isp = <DVFS_ISP_L3>;
			front_single_front_capture_mif = <DVFS_MIF_L1>;
			front_single_front_capture_int = <DVFS_INT_L0>;
			front_single_front_capture_hpg = <1>;

			front_single_front_video_fhd30_int_cam = <DVFS_INT_CAM_L6>;
			front_single_front_video_fhd30_cam = <DVFS_CAM_L3>;
			front_single_front_video_fhd30_csis = <DVFS_CSIS_L3>;
			front_single_front_video_fhd30_isp = <DVFS_ISP_L3>;
			front_single_front_video_fhd30_mif = <DVFS_MIF_L6>;
			front_single_front_video_fhd30_int = <DVFS_INT_L3>;
			front_single_front_video_fhd30_hpg = <1>;

			front_single_front_video_uhd30_int_cam = <DVFS_INT_CAM_L6>;
			front_single_front_video_uhd30_cam = <DVFS_CAM_L3>;
			front_single_front_video_uhd30_csis = <DVFS_CSIS_L3>;
			front_single_front_video_uhd30_isp = <DVFS_ISP_L3>;
			front_single_front_video_uhd30_mif = <DVFS_MIF_L6>;
			front_single_front_video_uhd30_int = <DVFS_INT_L3>;
			front_single_front_video_uhd30_hpg = <1>;

			front_single_front_video_fhd60_int_cam = <DVFS_INT_CAM_L5>;
			front_single_front_video_fhd60_cam = <DVFS_CAM_L3>;
			front_single_front_video_fhd60_csis = <DVFS_CSIS_L3>;
			front_single_front_video_fhd60_isp = <DVFS_ISP_L3>;
			front_single_front_video_fhd60_mif = <DVFS_MIF_L6>;
			front_single_front_video_fhd60_int = <DVFS_INT_L3>;
			front_single_front_video_fhd60_hpg = <1>;

			front_single_front_video_uhd60_int_cam = <DVFS_INT_CAM_L5>;
			front_single_front_video_uhd60_cam = <DVFS_CAM_L3>;
			front_single_front_video_uhd60_csis = <DVFS_CSIS_L3>;
			front_single_front_video_uhd60_isp = <DVFS_ISP_L3>;
			front_single_front_video_uhd60_mif = <DVFS_MIF_L4>;
			front_single_front_video_uhd60_int = <DVFS_INT_L1>;
			front_single_front_video_uhd60_hpg = <1>;

			front_single_front_vt_int_cam = <DVFS_INT_CAM_L5>;
			front_single_front_vt_cam = <DVFS_CAM_L3>;
			front_single_front_vt_csis = <DVFS_CSIS_L3>;
			front_single_front_vt_isp = <DVFS_ISP_L3>;
			front_single_front_vt_mif = <DVFS_MIF_L8>;
			front_single_front_vt_int = <DVFS_INT_L3>;
			front_single_front_vt_hpg = <1>;

			front_single_front_fastae_int_cam = <DVFS_INT_CAM_L5>;
			front_single_front_fastae_cam = <DVFS_CAM_L3>;
			front_single_front_fastae_csis = <DVFS_CSIS_L3>;
			front_single_front_fastae_isp = <DVFS_ISP_L3>;
			front_single_front_fastae_mif = <DVFS_MIF_L4>;
			front_single_front_fastae_int = <DVFS_INT_L3>;
			front_single_front_fastae_hpg = <1>;

			front_single_front_secure_int_cam = <DVFS_INT_CAM_L5>;
			front_single_front_secure_cam = <DVFS_CAM_L5>;
			front_single_front_secure_csis = <DVFS_CSIS_L5>;
			front_single_front_secure_isp = <DVFS_ISP_L5>;
			front_single_front_secure_mif = <DVFS_MIF_L6>;
			front_single_front_secure_int = <DVFS_INT_L3>;
			front_single_front_secure_hpg = <1>;

			pip_dual_photo_int_cam = <DVFS_INT_CAM_L3>;
			pip_dual_photo_cam = <DVFS_CAM_L1>;
			pip_dual_photo_csis = <DVFS_CSIS_L1>;
			pip_dual_photo_isp = <DVFS_ISP_L1>;
			pip_dual_photo_mif = <DVFS_MIF_L1>;
			pip_dual_photo_int = <DVFS_INT_L3>;
			pip_dual_photo_hpg = <1>;

			pip_dual_capture_int_cam = <DVFS_INT_CAM_L3>;
			pip_dual_capture_cam = <DVFS_CAM_L1>;
			pip_dual_capture_csis = <DVFS_CSIS_L1>;
			pip_dual_capture_isp = <DVFS_ISP_L1>;
			pip_dual_capture_mif = <DVFS_MIF_L1>;
			pip_dual_capture_int = <DVFS_INT_L0>;
			pip_dual_capture_hpg = <1>;

			pip_dual_video_fhd30_int_cam = <DVFS_INT_CAM_L3>;
			pip_dual_video_fhd30_cam = <DVFS_CAM_L1>;
			pip_dual_video_fhd30_csis = <DVFS_CSIS_L1>;
			pip_dual_video_fhd30_isp = <DVFS_ISP_L1>;
			pip_dual_video_fhd30_mif = <DVFS_MIF_L1>;
			pip_dual_video_fhd30_int = <DVFS_INT_L3>;
			pip_dual_video_fhd30_hpg = <1>;

			triple_photo_int_cam = <DVFS_INT_CAM_L3>;
			triple_photo_cam = <DVFS_CAM_L1>;
			triple_photo_csis = <DVFS_CSIS_L1>;
			triple_photo_isp = <DVFS_ISP_L1>;
			triple_photo_mif = <DVFS_MIF_L0>;
			triple_photo_int = <DVFS_INT_L0>;
			triple_photo_hpg = <1>;

			triple_video_fhd30_int_cam = <DVFS_INT_CAM_L3>;
			triple_video_fhd30_cam = <DVFS_CAM_L1>;
			triple_video_fhd30_csis = <DVFS_CSIS_L1>;
			triple_video_fhd30_isp = <DVFS_ISP_L1>;
			triple_video_fhd30_mif = <DVFS_MIF_L0>;
			triple_video_fhd30_int = <DVFS_INT_L0>;
			triple_video_fhd30_hpg = <1>;

			triple_video_uhd30_int_cam = <DVFS_INT_CAM_L3>;
			triple_video_uhd30_cam = <DVFS_CAM_L1>;
			triple_video_uhd30_csis = <DVFS_CSIS_L1>;
			triple_video_uhd30_isp = <DVFS_ISP_L1>;
			triple_video_uhd30_mif = <DVFS_MIF_L0>;
			triple_video_uhd30_int = <DVFS_INT_L0>;
			triple_video_uhd30_hpg = <1>;

			triple_video_fhd60_int_cam = <DVFS_INT_CAM_L3>;
			triple_video_fhd60_cam = <DVFS_CAM_L1>;
			triple_video_fhd60_csis = <DVFS_CSIS_L1>;
			triple_video_fhd60_isp = <DVFS_ISP_L1>;
			triple_video_fhd60_mif = <DVFS_MIF_L0>;
			triple_video_fhd60_int = <DVFS_INT_L0>;
			triple_video_fhd60_hpg = <1>;

			triple_video_uhd60_int_cam = <DVFS_INT_CAM_L3>;
			triple_video_uhd60_cam = <DVFS_CAM_L1>;
			triple_video_uhd60_csis = <DVFS_CSIS_L1>;
			triple_video_uhd60_isp = <DVFS_ISP_L1>;
			triple_video_uhd60_mif = <DVFS_MIF_L0>;
			triple_video_uhd60_int = <DVFS_INT_L0>;
			triple_video_uhd60_hpg = <1>;

			triple_capture_int_cam = <DVFS_INT_CAM_L3>;
			triple_capture_cam = <DVFS_CAM_L1>;
			triple_capture_csis = <DVFS_CSIS_L1>;
			triple_capture_isp = <DVFS_ISP_L1>;
			triple_capture_mif = <DVFS_MIF_L0>;
			triple_capture_int = <DVFS_INT_L0>;
			triple_capture_hpg = <1>;

			ext_rear_single_int_cam = <DVFS_INT_CAM_L5>;
			ext_rear_single_cam = <DVFS_CAM_L5>;
			ext_rear_single_csis = <DVFS_CSIS_L5>;
			ext_rear_single_isp = <DVFS_ISP_L5>;
			ext_rear_single_mif = <DVFS_MIF_L8>;
			ext_rear_single_int = <DVFS_INT_L3>;
			ext_rear_single_hpg = <1>;

			ext_front_secure_int_cam = <DVFS_INT_CAM_L5>;
			ext_front_secure_cam = <DVFS_CAM_L5>;
			ext_front_secure_csis = <DVFS_CSIS_L5>;
			ext_front_secure_isp = <DVFS_ISP_L5>;
			ext_front_secure_mif = <DVFS_MIF_L8>;
			ext_front_secure_int = <DVFS_INT_L3>;
			ext_front_secure_hpg = <1>;

			max_int_cam = <DVFS_INT_CAM_L0>;
			max_cam = <DVFS_CAM_L0>;
			max_csis = <DVFS_CSIS_L0>;
			max_isp = <DVFS_ISP_L0>;
			max_mif = <DVFS_MIF_L0>;
			max_int = <DVFS_INT_L0>;
			max_hpg = <1>;
		};
	};
};

&pinctrl_4 {
	/* PERIC0 USI15 REAR sub */
	/* No pull-up resistor, use internal one */
	hsi2c30_bus: hsi2c30-bus {
		samsung,pins = "gpp15-0", "gpp15-1";
		samsung,pin-function = <2>;
		samsung,pin-pud = <3>;
		samsung,pin-drv = <0>;
	};

	hsi2c30_bus_in: hsi2c30-bus-in {
		samsung,pins = "gpp15-0", "gpp15-1";
		samsung,pin-function = <0>;
		samsung,pin-pud = <0>;
		samsung,pin-drv = <0>;
	};

	/* PERIC0 USI15_I2C REAR main */
	hsi2c31_bus: hsi2c31-bus {
		samsung,pins = "gpp15-2", "gpp15-3";
		samsung,pin-function = <3>;
		samsung,pin-pud = <3>;
		samsung,pin-drv = <0>;
	};

	hsi2c31_bus_in: hsi2c31-bus-in {
		samsung,pins = "gpp15-2", "gpp15-3";
		samsung,pin-function = <0>;
		samsung,pin-pud = <0>;
		samsung,pin-drv = <0>;
	};
};

&pinctrl_5 {
	/* PERIC1 USI17_I2C front VT0 */
	/* No pull-up resistor, use internal one */
	hsi2c35_bus: hsi2c35-bus {
		samsung,pins = "gpp17-2", "gpp17-3";
		samsung,pin-function = <3>;
		samsung,pin-pud = <3>;
		samsung,pin-drv = <0>;
	};

	hsi2c35_bus_in: hsi2c35-bus-in {
		samsung,pins = "gpp17-2", "gpp17-3";
		samsung,pin-function = <0>;
		samsung,pin-pud = <0>;
		samsung,pin-drv = <0>;
	};
};

/* PERIC0 USI15_I2C REAR main */
&hsi2c_31 {
	#address-cells = <1>;
	#size-cells = <0>;
	gpios = <&gpp15 2 0 &gpp15 3 0>;
	status = "okay";
	samsung,fast-plus-mode;
	clock-frequency = <1000000>;

	pinctrl-names = "default","on_i2c","off_i2c";
	pinctrl-0 = <&hsi2c31_bus_in>;
	pinctrl-1 = <&hsi2c31_bus>;
	pinctrl-2 = <&hsi2c31_bus_in>;

	is-gm1sp@2D {
		compatible = "samsung,exynos-is-cis-gm1sp";
		reg = <0x2D>;
		id = <0>; /* matching sensor id */
		setfile = "setB";
	};

	is-actuator@72 {
		compatible = "samsung,exynos-is-actuator-dw9839";
		reg = <0x0C>;
		id = <0>; /* matching is_sensor id */
		place = <0>;
	};
};

/* PERIC0 USI15 REAR sub */
&hsi2c_30 {
	#address-cells = <1>;
	#size-cells = <0>;
	gpios = <&gpp15 0 0 &gpp15 1 0>;
	status = "okay";
	samsung,fast-plus-mode;
	clock-frequency = <1000000>;

	pinctrl-names = "default","on_i2c","off_i2c";
	pinctrl-0 = <&hsi2c30_bus_in>;
	pinctrl-1 = <&hsi2c30_bus>;
	pinctrl-2 = <&hsi2c30_bus_in>;

	is-5e9@10 {
		compatible = "samsung,exynos-is-cis-5e9";
		reg = <0x10>;
		id = <2>; /* matching sensor id */
		setfile = "setB";
	};
};

/* PERIC1 USI17_I2C front VT0  */
&hsi2c_35 {
	#address-cells = <1>;
	#size-cells = <0>;
	gpios = <&gpp17 2 0 &gpp17 3 0>;
	status = "okay";
	clock-frequency = <400000>;

	pinctrl-names = "default","on_i2c","off_i2c";
	pinctrl-0 = <&hsi2c35_bus_in>;
	pinctrl-1 = <&hsi2c35_bus>;
	pinctrl-2 = <&hsi2c35_bus_in>;

	is-4h5yc@36 {
		compatible = "samsung,exynos-is-cis-4h5yc";
		reg = <0x36>;
		id = <1>; /* matching sensor id */
		setfile = "setB";
	};
};
